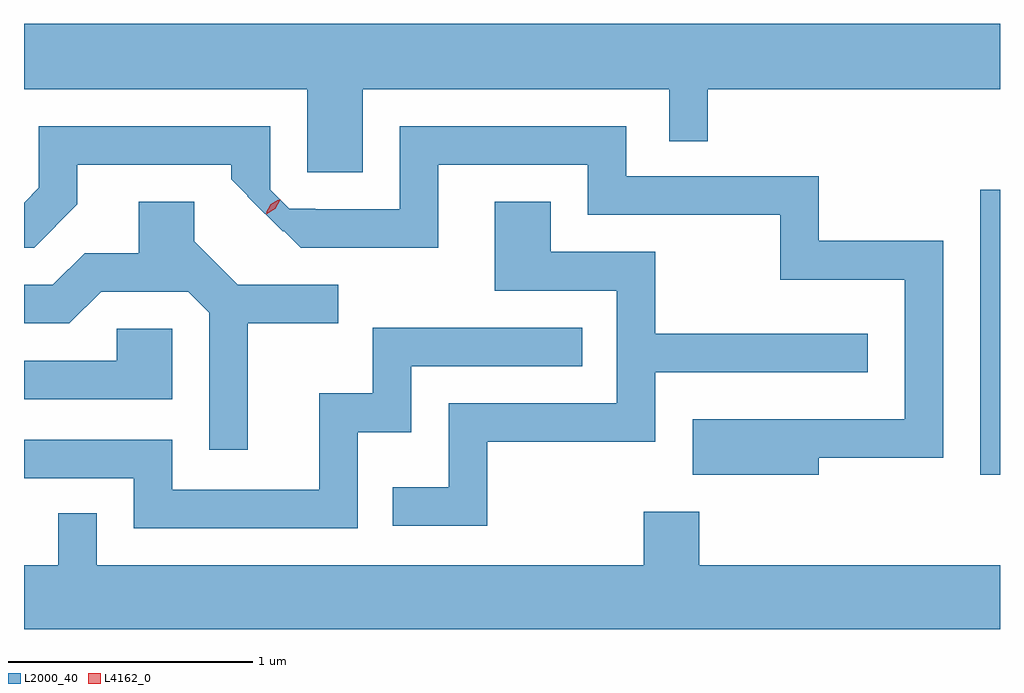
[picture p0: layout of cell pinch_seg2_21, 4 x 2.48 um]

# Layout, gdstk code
import gdstk
lib = gdstk.Library(unit=1e-6, precision=1e-09)
def R(c, l, rs):  # rectangles x0, y0, x1, y1
    for r in rs: c.add(gdstk.rectangle(r[:2], r[2:], *l))
def P(c, l, *ps):  # polygons
    for p in ps: c.add(gdstk.Polygon(p, *l))
L2000_40 = (2000, 40)
L4162_0 = (4162, 0)

pinch_seg2_21 = lib.new_cell('pinch_seg2_21')
R(pinch_seg2_21, L2000_40, [(1679.331,1055.616,1679.411,1056.784)])
P(pinch_seg2_21, L2000_40, [(1676.799,1057.196),(1678.056,1057.196),(1678.056,1056.983),(1678.214,1056.983),(1678.214,1057.196),(1679.411,1057.196),(1679.411,1057.464),(1675.411,1057.464),(1675.411,1057.196),(1676.571,1057.196),(1676.571,1056.856),(1676.799,1056.856)],
  [(1678.669,1055.686),(1679.179,1055.686),(1679.179,1056.574),(1678.669,1056.574),(1678.669,1056.839),(1677.879,1056.839),(1677.879,1057.044),(1676.951,1057.044),(1676.951,1056.704),(1676.605,1056.704),(1676.605,1056.706),(1676.499,1056.706),(1676.421,1056.784),(1676.421,1057.044),(1675.471,1057.044),(1675.471,1056.792),(1675.411,1056.731),(1675.411,1056.546),(1675.452,1056.546),(1675.629,1056.724),(1675.629,1056.886),(1676.261,1056.886),(1676.261,1056.828),(1676.329,1056.76),(1676.326,1056.758),(1676.473,1056.611),(1676.476,1056.615),(1676.545,1056.546),(1677.109,1056.546),(1677.109,1056.886),(1677.721,1056.886),(1677.721,1056.681),(1678.511,1056.681),(1678.511,1056.416),(1679.021,1056.416),(1679.021,1055.844),(1678.151,1055.844),(1678.151,1055.616),(1678.669,1055.616)],
  [(1677.309,1055.751),(1677.999,1055.751),(1677.999,1056.036),(1678.868,1056.036),(1678.868,1056.194),(1677.999,1056.194),(1677.999,1056.529),(1677.569,1056.529),(1677.569,1056.734),(1677.341,1056.734),(1677.341,1056.371),(1677.841,1056.371),(1677.841,1055.909),(1677.151,1055.909),(1677.151,1055.564),(1676.923,1055.564),(1676.923,1055.406),(1677.309,1055.406)],
  [(1676.329,1056.236),(1676.698,1056.236),(1676.698,1056.394),(1676.287,1056.394),(1676.109,1056.572),(1676.109,1056.734),(1675.881,1056.734),(1675.881,1056.524),(1675.659,1056.524),(1675.529,1056.394),(1675.411,1056.394),(1675.411,1056.236),(1675.597,1056.236),(1675.727,1056.366),(1676.084,1056.366),(1676.171,1056.279),(1676.171,1055.718),(1676.329,1055.718)],
  [(1676.779,1055.791),(1676.999,1055.791),(1676.999,1056.061),(1677.698,1056.061),(1677.698,1056.219),(1676.841,1056.219),(1676.841,1055.949),(1676.621,1055.949),(1676.621,1055.554),(1676.019,1055.554),(1676.019,1055.759),(1675.411,1055.759),(1675.411,1055.601),(1675.861,1055.601),(1675.861,1055.396),(1676.779,1055.396)],
  [(1676.019,1056.214),(1675.791,1056.214),(1675.791,1056.084),(1675.411,1056.084),(1675.411,1055.926),(1676.019,1055.926)],
  [(1679.411,1055.244),(1678.179,1055.244),(1678.179,1055.464),(1677.951,1055.464),(1677.951,1055.244),(1675.709,1055.244),(1675.709,1055.458),(1675.551,1055.458),(1675.551,1055.244),(1675.411,1055.244),(1675.411,1054.983),(1679.411,1054.983)])
P(pinch_seg2_21, L4162_0, [(1676.403,1056.684),(1676.403,1056.685),(1676.425,1056.721),(1676.462,1056.744),(1676.462,1056.744),(1676.462,1056.743),(1676.44,1056.707),(1676.404,1056.684)],
  [(1676.404,1056.692),(1676.404,1056.692),(1676.422,1056.724),(1676.454,1056.742),(1676.454,1056.742),(1676.454,1056.741),(1676.436,1056.71),(1676.405,1056.692)])

lib.write_gds('pinch_seg2_21.gds')
